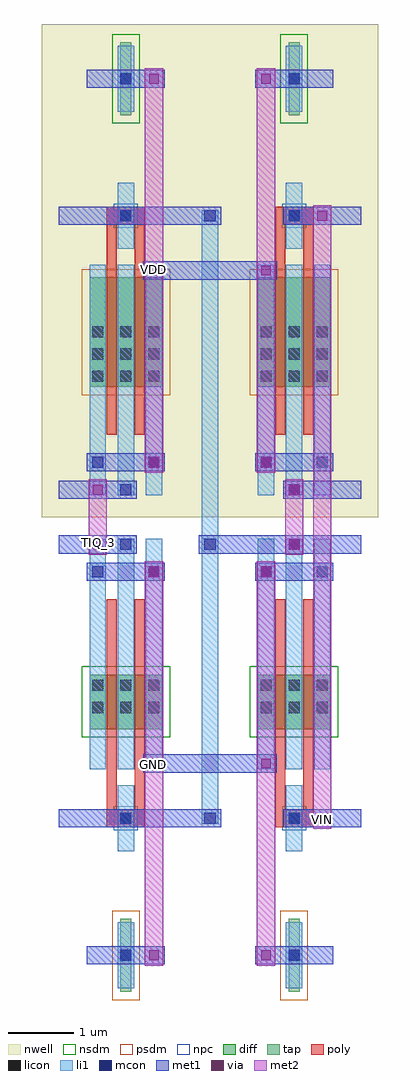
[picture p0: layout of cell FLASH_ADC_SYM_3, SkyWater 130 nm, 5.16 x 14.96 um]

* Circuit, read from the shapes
.subckt FLASH_ADC_SYM_3 GND TIQ_3 VDD VIN
XM1 TIQ_3 n1 GND GND sky130_fd_pr__nfet_01v8 w=0.84 l=0.15 m=2
XM2 n1 VIN GND GND sky130_fd_pr__nfet_01v8 w=0.84 l=0.15 m=2
XM3 TIQ_3 n1 VDD VDD sky130_fd_pr__pfet_01v8 w=1.68 l=0.15 m=2
XM4 n1 VIN VDD VDD sky130_fd_pr__pfet_01v8 w=1.68 l=0.15 m=2
.ends

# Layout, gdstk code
import gdstk
lib = gdstk.Library(unit=1e-6, precision=1e-09)
def R(c, l, rs):  # rectangles x0, y0, x1, y1
    for r in rs: c.add(gdstk.rectangle(r[:2], r[2:], *l))
def A(c, l, x, y, w, h, nx, ny, dx, dy):  # array of equal rectangles
    R(c, l, [(x+i*dx, y+j*dy, x+i*dx+w, y+j*dy+h) for i in range(nx) for j in range(ny)])
nwell = (64, 20)
diff = (65, 20)
tap = (65, 44)
poly = (66, 20)
licon = (66, 44)
li1 = (67, 20)
mcon = (67, 44)
met1 = (68, 20)
via = (68, 44)
met2 = (69, 20)
nsdm = (93, 44)
psdm = (94, 20)
npc = (95, 20)

flash_adc_sym_3 = lib.new_cell('FLASH_ADC_SYM_3')
R(flash_adc_sym_3, nwell, [(0,7.41,5.16,14.97)])
R(flash_adc_sym_3, diff, [(0.735,4.155,1.845,4.995), (3.315,4.155,4.425,4.995), (0.735,9.405,1.845,11.085), (3.315,9.405,4.425,11.085)])
R(flash_adc_sym_3, tap, [(1.205,0.13,1.375,1.25), (3.785,0.13,3.955,1.25), (1.205,13.57,1.375,14.69), (3.785,13.57,3.955,14.69)])
R(flash_adc_sym_3, poly, [(1,2.655,1.58,2.925), (3.58,2.655,4.16,2.925), (1,2.925,1.15,6.15), (1.43,2.925,1.58,6.15), (3.58,2.925,3.73,6.15), (4.01,2.925,4.16,6.15), (1,8.67,1.15,11.895), (1.43,8.67,1.58,11.895), (3.58,8.67,3.73,11.895), (4.01,8.67,4.16,11.895), (1,11.895,1.58,12.165), (3.58,11.895,4.16,12.165)])
A(flash_adc_sym_3, licon, 0.775, 4.405, 0.17, 0.17, 3, 2, 0.43, 0.34)
A(flash_adc_sym_3, licon, 3.355, 4.405, 0.17, 0.17, 3, 2, 0.43, 0.34)
A(flash_adc_sym_3, licon, 0.775, 9.485, 0.17, 0.17, 3, 3, 0.43, 0.34)
A(flash_adc_sym_3, licon, 3.355, 9.485, 0.17, 0.17, 3, 3, 0.43, 0.34)
R(flash_adc_sym_3, licon, [(1.205,0.605,1.375,0.775), (3.785,0.605,3.955,0.775), (1.205,2.705,1.375,2.875), (3.785,2.705,3.955,2.875), (1.205,11.945,1.375,12.115), (3.785,11.945,3.955,12.115), (1.205,14.045,1.375,14.215), (3.785,14.045,3.955,14.215)])
A(flash_adc_sym_3, li1, 0.735, 3.545, 0.25, 3.53, 3, 2, 0.43, 4.2)
A(flash_adc_sym_3, li1, 3.315, 3.545, 0.25, 3.53, 3, 2, 0.43, 4.2)
R(flash_adc_sym_3, li1, [(1.165,0.185,1.415,1.195), (3.745,0.185,3.995,1.195), (1.165,2.285,1.415,3.295), (3.745,2.285,3.995,3.295), (2.455,2.705,2.705,12.115), (1.165,11.525,1.415,12.535), (3.745,11.525,3.995,12.535), (1.165,13.625,1.415,14.635), (3.745,13.625,3.995,14.635)])
A(flash_adc_sym_3, mcon, 1.205, 2.705, 0.17, 0.17, 3, 2, 1.29, 4.2)
A(flash_adc_sym_3, mcon, 1.205, 11.945, 0.17, 0.17, 3, 1, 1.29, 0)
R(flash_adc_sym_3, mcon, [(1.205,0.605,1.375,0.775), (3.785,0.605,3.955,0.775), (0.775,6.485,0.945,6.655), (1.635,6.485,1.805,6.655), (3.355,6.485,3.525,6.655), (4.215,6.485,4.385,6.655), (1.205,7.745,1.375,7.915), (3.785,7.745,3.955,7.915), (0.775,8.165,0.945,8.335), (1.635,8.165,1.805,8.335), (3.355,8.165,3.525,8.335), (4.215,8.165,4.385,8.335), (1.205,14.045,1.375,14.215), (3.785,14.045,3.955,14.215)])
R(flash_adc_sym_3, met1, [(0.69,0.55,1.89,0.83), (3.27,0.55,4.47,0.83), (0.26,2.65,2.75,2.93), (3.7,2.65,4.9,2.93), (1.56,3.49,3.6,3.77), (0.69,6.43,1.89,6.71), (3.27,6.43,4.47,6.71), (0.26,6.85,1.46,7.13), (2.41,6.85,4.9,7.13), (0.26,7.69,1.46,7.97), (3.7,7.69,4.9,7.97), (0.69,8.11,1.89,8.39), (3.27,8.11,4.47,8.39), (1.56,11.05,3.6,11.33), (0.26,11.89,2.75,12.17), (3.7,11.89,4.9,12.17), (0.69,13.99,1.89,14.27), (3.27,13.99,4.47,14.27)])
A(flash_adc_sym_3, via, 1.645, 0.615, 0.15, 0.15, 1, 3, 0, 2.94)
A(flash_adc_sym_3, via, 3.365, 0.615, 0.15, 0.15, 1, 3, 0, 2.94)
A(flash_adc_sym_3, via, 1.645, 8.175, 0.15, 0.15, 1, 3, 0, 2.94)
A(flash_adc_sym_3, via, 3.365, 8.175, 0.15, 0.15, 1, 3, 0, 2.94)
R(flash_adc_sym_3, via, [(4.225,2.715,4.375,2.865), (0.785,6.915,0.935,7.065), (3.795,6.915,3.945,7.065), (0.785,7.755,0.935,7.905), (3.795,7.755,3.945,7.905), (4.225,11.955,4.375,12.105)])
R(flash_adc_sym_3, met2, [(1.58,0.53,1.86,6.73), (3.3,0.53,3.58,6.73), (4.16,2.63,4.44,12.19), (0.72,6.83,1,7.99), (3.73,6.83,4.01,7.99), (1.58,8.09,1.86,14.29), (3.3,8.09,3.58,14.29)])
R(flash_adc_sym_3, nsdm, [(0.61,4.03,1.97,5.12), (3.19,4.03,4.55,5.12), (1.08,13.445,1.5,14.815), (3.66,13.445,4.08,14.815)])
R(flash_adc_sym_3, psdm, [(1.08,0.005,1.5,1.375), (3.66,0.005,4.08,1.375), (0.61,9.28,1.97,11.21), (3.19,9.28,4.55,11.21)])
R(flash_adc_sym_3, npc, [(1.105,2.605,1.475,2.975), (3.685,2.605,4.055,2.975), (1.105,11.845,1.475,12.215), (3.685,11.845,4.055,12.215)])
flash_adc_sym_3.add(gdstk.Label('GND', (1.72,3.62), layer=69, texttype=5))
flash_adc_sym_3.add(gdstk.Label('VDD', (1.72,11.2), layer=69, texttype=5))
flash_adc_sym_3.add(gdstk.Label('VIN', (4.31,2.78), layer=68, texttype=5))
flash_adc_sym_3.add(gdstk.Label('TIQ_3', (0.87,7.02), layer=68, texttype=5))

lib.write_gds('FLASH_ADC_SYM_3.gds')
